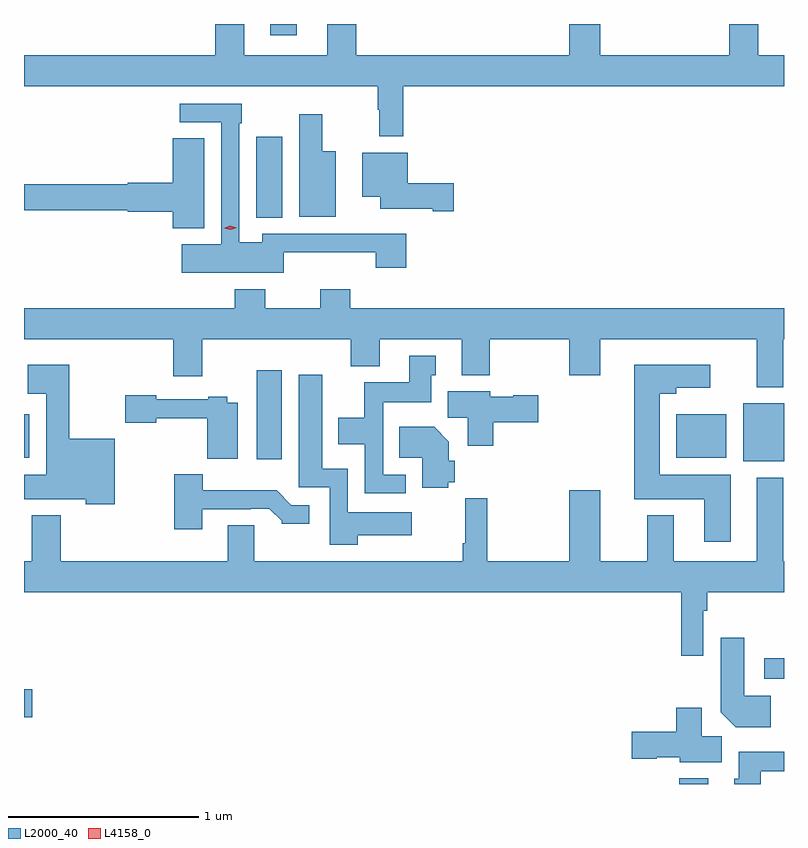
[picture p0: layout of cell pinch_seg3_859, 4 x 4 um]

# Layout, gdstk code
import gdstk
lib = gdstk.Library(unit=1e-6, precision=1e-09)
def R(c, l, rs):  # rectangles x0, y0, x1, y1
    for r in rs: c.add(gdstk.rectangle(r[:2], r[2:], *l))
def P(c, l, *ps):  # polygons
    for p in ps: c.add(gdstk.Polygon(p, *l))
L2000_40 = (2000, 40)
L4158_0 = (4158, 0)

pinch_seg3_859 = lib.new_cell('pinch_seg3_859')
R(pinch_seg3_859, L2000_40, [(693.059,678.596,693.211,678.625), (689.61,678.947,689.653,679.094), (693.507,679.149,693.61,679.258), (693.395,680.294,693.61,680.599), (690.836,680.304,690.967,680.773), (689.61,680.312,689.638,680.542), (693.044,680.312,693.307,680.542), (690.833,681.577,690.97,682.003), (690.905,682.536,691.045,682.596)])
P(pinch_seg3_859, L2000_40, [(691.607,682.268),(693.61,682.268),(693.61,682.432),(693.475,682.432),(693.475,682.596),(693.323,682.596),(693.323,682.432),(692.644,682.432),(692.644,682.596),(692.48,682.596),(692.48,682.432),(691.358,682.432),(691.358,682.596),(691.205,682.596),(691.205,682.432),(690.769,682.432),(690.769,682.596),(690.617,682.596),(690.617,682.432),(689.61,682.432),(689.61,682.268),(691.471,682.268),(691.471,682.145),(691.479,682.145),(691.479,682.005),(691.607,682.005)],
  [(690.976,681.395),(691.462,681.395),(691.462,681.312),(691.622,681.312),(691.622,681.493),(691.373,681.493),(691.373,681.492),(690.863,681.492),(690.863,681.448),(690.744,681.448),(690.744,682.073),(690.757,682.073),(690.757,682.176),(690.429,682.176),(690.429,682.08),(690.648,682.08),(690.648,681.436),(690.441,681.436),(690.441,681.287),(690.976,681.287)],
  [(691.252,681.925),(691.18,681.925),(691.18,682.12),(691.058,682.12),(691.058,681.581),(691.252,681.581)],
  [(690.559,681.995),(690.392,681.995),(690.392,681.76),(690.156,681.76),(690.156,681.752),(689.61,681.752),(689.61,681.616),(690.156,681.616),(690.156,681.608),(690.392,681.608),(690.392,681.521),(690.559,681.521)],
  [(691.873,681.758),(691.63,681.758),(691.63,681.919),(691.391,681.919),(691.391,681.686),(691.484,681.686),(691.484,681.623),(691.76,681.623),(691.76,681.611),(691.873,681.611)],
  [(693.607,680.936),(693.61,680.936),(693.61,681.1),(691.328,681.1),(691.328,681.199),(691.168,681.199),(691.168,681.1),(690.879,681.1),(690.879,681.199),(690.719,681.199),(690.719,681.1),(689.61,681.1),(689.61,680.936),(690.395,680.936),(690.395,680.742),(690.547,680.742),(690.547,680.936),(691.331,680.936),(691.331,680.795),(691.483,680.795),(691.483,680.936),(691.913,680.936),(691.913,680.747),(692.061,680.747),(692.061,680.936),(692.48,680.936),(692.48,680.748),(692.644,680.748),(692.644,680.936),(693.467,680.936),(693.467,680.684),(693.607,680.684)],
  [(691.618,680.223),(691.5,680.223),(691.5,680.606),(691.753,680.606),(691.753,680.748),(691.777,680.748),(691.777,680.851),(691.637,680.851),(691.637,680.71),(691.402,680.71),(691.402,680.524),(691.265,680.524),(691.265,680.384),(691.404,680.384),(691.404,680.127),(691.618,680.127)],
  [(693.331,680.224),(692.956,680.224),(692.956,680.651),(693.043,680.651),(693.043,680.681),(693.223,680.681),(693.223,680.803),(692.822,680.803),(692.822,680.096),(693.191,680.096),(693.191,679.872),(693.331,679.872)],
  [(690.088,680.413),(689.848,680.413),(689.848,680.803),(689.631,680.803),(689.631,680.651),(689.726,680.651),(689.726,680.224),(689.61,680.224),(689.61,680.096),(689.934,680.096),(689.934,680.069),(690.088,680.069)],
  [(691.367,679.904),(691.651,679.904),(691.651,680.026),(691.314,680.026),(691.314,680.254),(691.18,680.254),(691.18,680.749),(691.055,680.749),(691.055,680.157),(691.218,680.157),(691.218,679.854),(691.367,679.854)],
  [(692.081,680.501),(692.317,680.501),(692.317,680.643),(692.184,680.643),(692.184,680.635),(692.064,680.635),(692.064,680.662),(691.841,680.662),(691.841,680.524),(691.946,680.524),(691.946,680.376),(692.081,680.376)],
  [(690.736,680.602),(690.681,680.602),(690.681,680.635),(690.581,680.635),(690.581,680.622),(690.306,680.622),(690.306,680.643),(690.144,680.643),(690.144,680.498),(690.306,680.498),(690.306,680.521),(690.574,680.521),(690.574,680.309),(690.736,680.309)],
  [(691.842,680.184),(691.877,680.184),(691.877,680.298),(691.846,680.298),(691.846,680.398),(691.768,680.476),(691.585,680.476),(691.585,680.312),(691.706,680.312),(691.706,680.155),(691.842,680.155)],
  [(690.547,680.043),(690.803,680.043),(690.803,680.046),(690.902,680.046),(690.966,679.982),(690.966,679.967),(691.111,679.967),(691.111,680.064),(691.017,680.064),(690.939,680.143),(690.55,680.143),(690.55,680.227),(690.4,680.227),(690.4,679.938),(690.547,679.938)],
  [(693.186,679.508),(693.206,679.508),(693.206,679.604),(693.61,679.604),(693.61,679.768),(693.607,679.768),(693.607,680.209),(693.467,680.209),(693.467,679.768),(693.031,679.768),(693.031,680.011),(692.891,680.011),(692.891,679.768),(692.644,679.768),(692.644,680.143),(692.48,680.143),(692.48,679.768),(692.047,679.768),(692.047,680.101),(691.933,680.101),(691.933,679.864),(691.918,679.864),(691.918,679.768),(690.823,679.768),(690.823,679.958),(690.683,679.958),(690.683,679.768),(689.804,679.768),(689.804,680.011),(689.651,680.011),(689.651,679.768),(689.61,679.768),(689.61,679.604),(693.07,679.604),(693.07,679.272),(693.186,679.272)],
  [(693.539,679.06),(693.4,679.06),(693.4,679.366),(693.278,679.366),(693.278,678.974),(693.356,678.896),(693.539,678.896)],
  [(693.283,678.848),(693.178,678.848),(693.178,678.997),(693.044,678.997),(693.044,678.872),(692.808,678.872),(692.808,678.73),(692.94,678.73),(692.94,678.737),(693.06,678.737),(693.06,678.71),(693.283,678.71)],
  [(693.487,678.662),(693.61,678.662),(693.61,678.766),(693.371,678.766),(693.371,678.624),(693.347,678.624),(693.347,678.596),(693.487,678.596)])
P(pinch_seg3_859, L4158_0, [(690.697,681.513),(690.662,681.521),(690.662,681.521),(690.662,681.522),(690.696,681.533),(690.731,681.524),(690.731,681.524),(690.731,681.524)])

lib.write_gds('pinch_seg3_859.gds')
